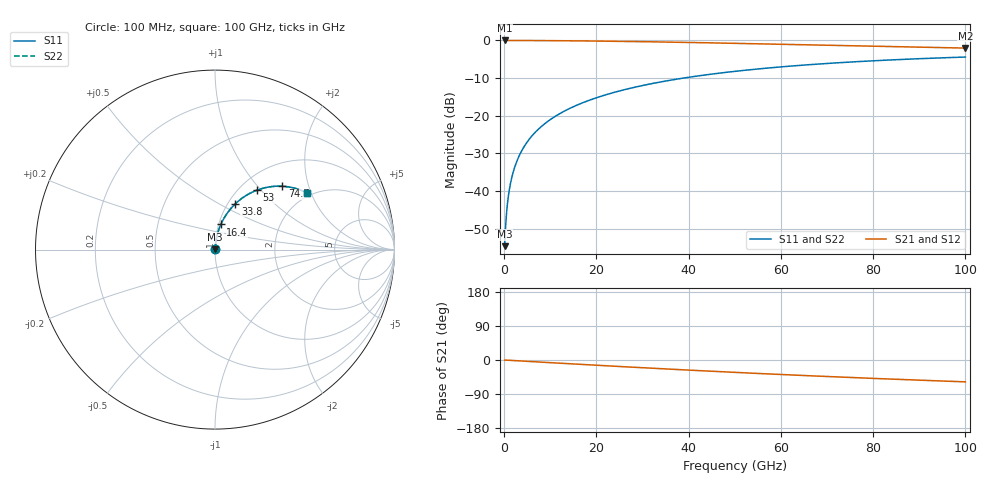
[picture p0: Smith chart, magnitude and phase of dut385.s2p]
! Touchstone file exported from HFSS 2026.1.0
!  File:  C:/ffzhzh/LocalFiles/Ansys_Project_Files/temp_train_RDL_385_1783503791_31944.aedt
!  Generated:  05:44:25 PM Jul  8, 2026
!  Design:  RDL
!  Project:  temp_train_RDL_385_1783503791_31944
! Variables:
!  h_bsmrdl = 2um
!  h_ox = 20um
!  h_rdl = 5um
!  h_sub = 80um
!  h_tmrdl = 2.73um
!  h_tsv = 80um
!  h_via = 3um
!  l_bsmrdl = 300um
!  l_sub = 538.11um
!  l_tmrdl = 138.11um
!  m_sub = 200um
!  pitch = 44.43um
!  r_tsv = 6um
!  s_tmrdl = 10um
!  w_bsmrdl = 18um
!  w_sub = 500um
!  w_tmrdl = 12.92um
!  x_tsv_center1 = 144.57um
!  x_tsv_center2 = 462.57um
!  x_tsv_center3 = 613.6um
!  x_tsv_center4 = 931.6um
!  x_tsv_center5 = 1082.63um
!  x_tsv_center6 = 1400.63um
# GHz S MA R 50.000000
! Terminal data exported
! Port[1] = TM_RDL1_1_T1
! Port[2] = TM_RDL1_1_T2
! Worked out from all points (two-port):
!   1000 points, 100 MHz to 100 GHz, reference 50 ohm
!   highest |S21| = -0.01 dB at 100 MHz (marker M1); lowest = -2.0 dB at 100 GHz (marker M2)
!   |S21| within 3 dB of the highest: start of sweep to end of sweep
!   lowest |S11| = -54.6 dB at 100 MHz (marker M3), VSWR 1.00, Z = 50.2 + j0.0945 ohm
!   |S11| at or under -10 dB: start of sweep to 38.85 GHz
!   |S22| runs from -54.6 to -4.4 dB; largest |S21 - S12| = 1.2e-14
!   S11 on the Smith chart (normalised r, x): 100 MHz: 1.00, +0.00; 16.4 GHz: 1.02, +0.29; 33.8 GHz: 1.08, +0.60; 53 GHz: 1.20, +0.95; 74.7 GHz: 1.43, +1.37; 100 GHz: 1.89, +1.87
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0.1  0.001865 30.4  0.9984 -0.1  0.9984 -0.1  0.001865 30.4
! Gamma 0 0 0 0
! Port Impedance 50 0 50 0
0.4  0.004098 65.6  0.9983 -0.3  0.9983 -0.3  0.004098 65.6
0.9  0.008462 77.1  0.9982 -0.6  0.9982 -0.6  0.008462 77.1
1.2  0.01111 79.5  0.9981 -0.9  0.9981 -0.9  0.01111 79.5
1.5  0.01377 81.0  0.998 -1.1  0.998 -1.1  0.01377 81.0
2  0.01823 82.5  0.9979 -1.4  0.9979 -1.4  0.01823 82.5
2.6  0.02358 83.3  0.9977 -1.8  0.9977 -1.8  0.02358 83.3
4.1  0.03697 83.8  0.9972 -2.9  0.9972 -2.9  0.03697 83.8
6.2  0.05564 83.1  0.996 -4.4  0.996 -4.4  0.05564 83.1
8.9  0.07941 81.7  0.994 -6.3  0.994 -6.3  0.07941 81.7
12.3  0.1089 79.6  0.9906 -8.6  0.9906 -8.6  0.1089 79.6
16.4  0.1436 77.0  0.9856 -11.4  0.9856 -11.4  0.1436 77.0
16.8  0.147 76.7  0.985 -11.7  0.985 -11.7  0.147 76.7
24.2  0.2072 72.0  0.9732 -16.6  0.9732 -16.6  0.2072 72.0
33.4  0.2774 66.2  0.9549 -22.6  0.9549 -22.6  0.2774 66.2
33.8  0.2804 66.0  0.954 -22.8  0.954 -22.8  0.2804 66.0
50.1  0.3893 56.3  0.9144 -32.7  0.9144 -32.7  0.3893 56.3
53  0.4065 54.7  0.9068 -34.4  0.9068 -34.4  0.4065 54.7
66.7  0.4791 47.3  0.8706 -41.9  0.8706 -41.9  0.4791 47.3
74.7  0.5151 43.3  0.8499 -45.9  0.8499 -45.9  0.5151 43.3
83.4  0.5493 39.1  0.8283 -50.2  0.8283 -50.2  0.5493 39.1
100  0.6016 31.7  0.7914 -57.7  0.7914 -57.7  0.6016 31.7
